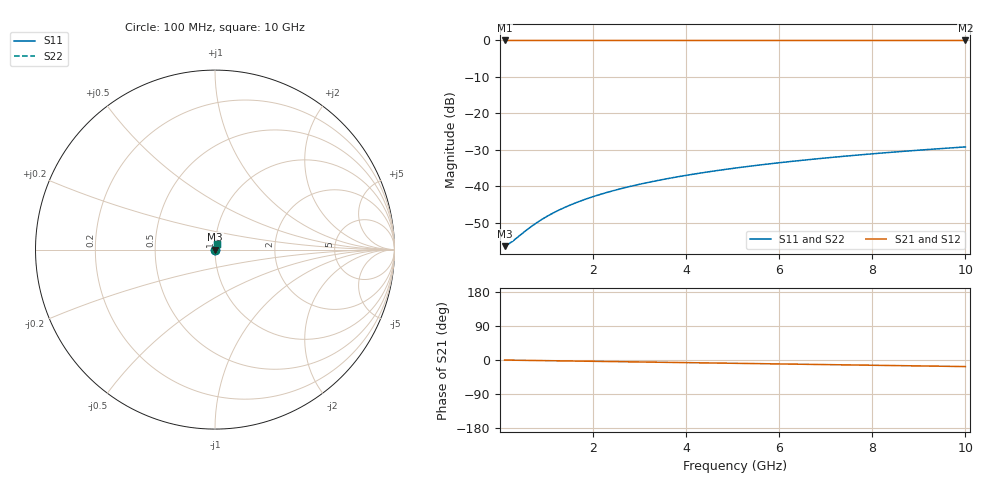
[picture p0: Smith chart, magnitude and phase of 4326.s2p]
# Hz S RI R 50.00
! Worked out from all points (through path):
!   100 points, 100 MHz to 10 GHz, reference 50 ohm
!   highest |S21| = -0.01 dB at 100 MHz (marker M1); lowest = 0.0 dB at 10 GHz (marker M2)
!   group delay of S21, straight-line fit = 4.82 ps
!   lowest |S11| = -56.5 dB at 100 MHz (marker M3), VSWR 1.00, Z = 50.1 + j0.0348 ohm
!   |S11| at or under -10 dB: start of sweep to end of sweep
!   |S22| runs from -56.5 to -29.2 dB; largest |S21 - S12| = 0
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1e8  0.00146 0.000347  0.9985 -0.00301  0.9985 -0.00301  0.00146 0.000347
2e8  0.00147 0.000693  0.9985 -0.00602  0.9985 -0.00602  0.00147 0.000693
3e8  0.00148 0.00104  0.9985 -0.00902  0.9985 -0.00902  0.00148 0.00104
5e8  0.00151 0.00173  0.9984 -0.015  0.9984 -0.015  0.00151 0.00173
7e8  0.00154 0.00242  0.9983 -0.0211  0.9983 -0.0211  0.00154 0.00242
8e8  0.00156 0.00277  0.9982 -0.0241  0.9982 -0.0241  0.00156 0.00277
1e9  0.0016 0.00346  0.998 -0.0301  0.998 -0.0301  0.0016 0.00346
1.2e9  0.00165 0.00415  0.9978 -0.0361  0.9978 -0.0361  0.00165 0.00415
1.4e9  0.00171 0.00484  0.9976 -0.0421  0.9976 -0.0421  0.00171 0.00484
1.6e9  0.00177 0.00553  0.9973 -0.0481  0.9973 -0.0481  0.00177 0.00553
1.8e9  0.00185 0.00622  0.997 -0.0541  0.997 -0.0541  0.00185 0.00622
2.1e9  0.00197 0.00725  0.9964 -0.0631  0.9964 -0.0631  0.00197 0.00725
2.5e9  0.00217 0.00862  0.9956 -0.0752  0.9956 -0.0752  0.00217 0.00862
2.9e9  0.00239 0.00998  0.9945 -0.0872  0.9945 -0.0872  0.00239 0.00998
3.4e9  0.00273 0.0117  0.9931 -0.1022  0.9931 -0.1022  0.00273 0.0117
4.2e9  0.00336 0.0144  0.9903 -0.1261  0.9903 -0.1261  0.00336 0.0144
5.1e9  0.00423 0.0173  0.9864 -0.153  0.9864 -0.153  0.00423 0.0173
5.9e9  0.00514 0.02  0.9823 -0.1768  0.9823 -0.1768  0.00514 0.02
6.7e9  0.00617 0.0225  0.9777 -0.2006  0.9777 -0.2006  0.00617 0.0225
7.5e9  0.00733 0.025  0.9724 -0.2242  0.9724 -0.2242  0.00733 0.025
8.4e9  0.00878 0.0278  0.9658 -0.2507  0.9658 -0.2507  0.00878 0.0278
1e10  0.0117 0.0325  0.9523 -0.2973  0.9523 -0.2973  0.0117 0.0325
